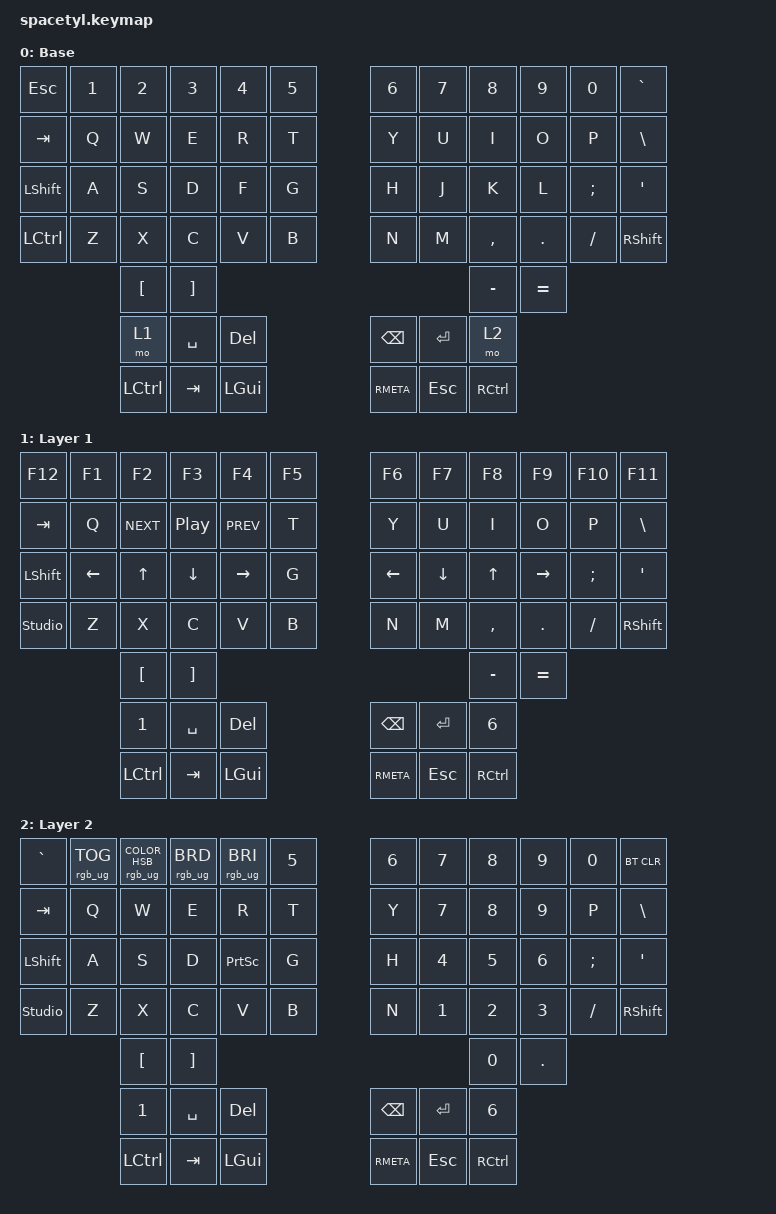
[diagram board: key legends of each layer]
#include <behaviors.dtsi>
#include <dt-bindings/zmk/keys.h>
#include <dt-bindings/zmk/rgb.h>
#include <dt-bindings/zmk/bt.h>

/ {
    keymap {
        compatible = "zmk,keymap";

        default_layer {
            display-name = "Base";
            bindings = <
                &kp ESC     &kp N1      &kp N2      &kp N3      &kp N4      &kp N5                  &kp N6      &kp N7      &kp N8      &kp N9      &kp N0      &kp GRAVE
                &kp TAB     &kp Q       &kp W       &kp E       &kp R       &kp T                   &kp Y       &kp U       &kp I       &kp O       &kp P       &kp BSLH 
                &kp LSHFT   &kp A       &kp S       &kp D       &kp F       &kp G                   &kp H       &kp J       &kp K       &kp L       &kp SEMI    &kp SQT
                &kp LCTRL   &kp Z       &kp X       &kp C       &kp V       &kp B                   &kp N       &kp M       &kp COMMA   &kp DOT     &kp FSLH    &kp RSHFT
                                        &kp LBKT    &kp RBKT                                                                &kp MINUS   &kp EQUAL 

                                        &mo 1       &kp SPACE   &kp DEL                             &kp BACKSPACE   &kp ENTER   &mo 2 
                                        &kp LCTRL   &kp TAB     &kp LGUI                            &kp RMETA       &kp ESC     &kp RCTRL>;
        };
        layer-1 {
            display-name = "Layer 1";
            bindings = <
                &kp F12     &kp F1      &kp F2      &kp F3      &kp F4      &kp F5                  &kp F6          &kp F7          &kp F8          &kp F9          &kp F10      &kp F11
                &kp TAB     &kp Q       &kp C_NEXT       &kp C_PP       &kp C_PREV       &kp T                   &kp Y           &kp U           &kp I           &kp O           &kp P       &kp BSLH 
                &kp LSHFT   &kp LEFT_ARROW       &kp UP_ARROW       &kp DOWN_ARROW       &kp RIGHT_ARROW       &kp G                   &kp LEFT_ARROW  &kp DOWN_ARROW  &kp UP_ARROW    &kp RIGHT_ARROW &kp SEMI    &kp SQT
                &studio_unlock   &kp Z       &kp X       &kp C       &kp V       &kp B                   &kp N           &kp M           &kp COMMA       &kp DOT         &kp FSLH    &kp RSHFT
                                        &kp LBKT    &kp RBKT                                                                &kp MINUS   &kp EQUAL 

                                        &kp N1      &kp SPACE   &kp DEL                             &kp BACKSPACE   &kp ENTER   &kp N6 
                                        &kp LCTRL   &kp TAB     &kp LGUI                            &kp RMETA       &kp ESC     &kp RCTRL>;
        };

        layer-2 {
            display-name = "Layer 2";
            bindings = <
                &kp GRAVE     &rgb_ug RGB_TOG      &rgb_ug RGB_COLOR_HSB(0, 0, 100)      &rgb_ug RGB_BRD      &rgb_ug RGB_BRI      &kp N5                  &kp N6      &kp N7      &kp N8      &kp N9      &kp N0      &bt BT_CLR
                &kp TAB     &kp Q       &kp W       &kp E       &kp R               &kp T                   &kp Y       &kp N7      &kp N8      &kp N9      &kp P       &kp BSLH 
                &kp LSHFT   &kp A       &kp S       &kp D       &kp PRINTSCREEN     &kp G                   &kp H       &kp N4      &kp N5      &kp N6      &kp SEMI    &kp SQT
                &studio_unlock    &kp Z       &kp X       &kp C       &kp V       &kp B                   &kp N       &kp N1      &kp N2      &kp N3      &kp FSLH    &kp RSHFT
                                        &kp LBKT    &kp RBKT                                                                &kp N0      &kp DOT 

                                        &kp N1      &kp SPACE   &kp DEL                             &kp BACKSPACE   &kp ENTER   &kp N6 
                                        &kp LCTRL   &kp TAB     &kp LGUI                            &kp RMETA       &kp ESC     &kp RCTRL>;
        };
    };
};
